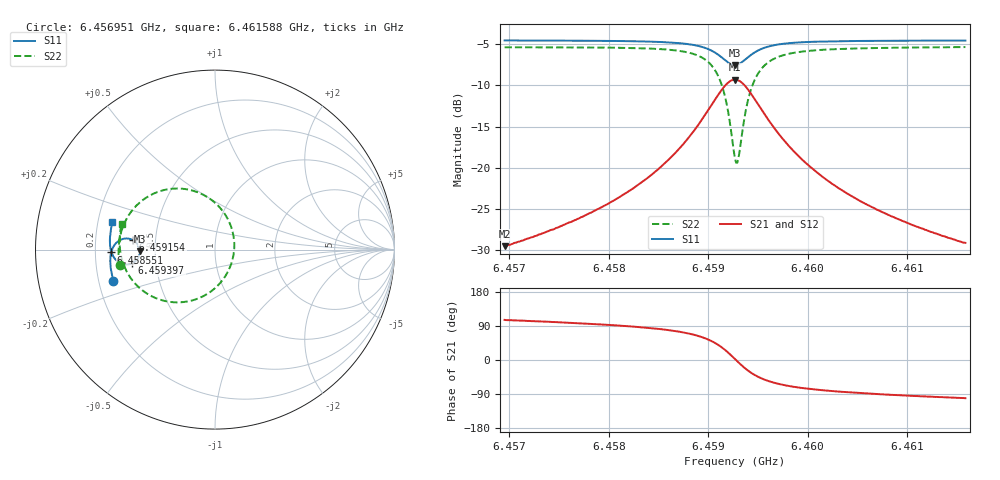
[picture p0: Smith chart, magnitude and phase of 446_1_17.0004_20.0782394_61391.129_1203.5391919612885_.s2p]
#  HZ  S  RI  R  50.00
! Rohde & Schwarz Vector Network Analyzer
! Rohde-Schwarz,ZNB20-2Port,1311601062101988,3.16
! Created: UTC 3/20/2024, 11:12:03 PM
! freq[Hz]  re:S11  im:S11  re:S21  im:S21  re:S12  im:S12  re:S22  im:S22
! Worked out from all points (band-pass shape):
!   401 points, 6.456951 GHz to 6.461588 GHz, reference 50 ohm
!   highest |S21| = -9.30 dB at 6.45927 GHz (marker M1); lowest = -29.5 dB at 6.456951 GHz (marker M2)
!   |S21| within 3 dB of the highest: 6.459038 GHz to 6.459502 GHz (464 kHz wide, 0.00718 % of centre)
!   lowest |S11| = -7.5 dB at 6.45927 GHz (marker M3), VSWR 2.45, Z = 20.4 - j0.524 ohm
!   |S11| at or under -10 dB: nowhere
!   |S22| runs from -19.4 to -5.4 dB; largest |S21 - S12| = 0.013
!   S11 on the Smith chart (normalised r, x): 6.456951 GHz: 0.26, -0.14; 6.458551 GHz: 0.27, -0.01; 6.459154 GHz: 0.37, +0.05; 6.459397 GHz: 0.37, -0.07; 6.461588 GHz: 0.26, +0.12
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6.4569511e9  -0.5662 -0.1741  -0.00914 0.0321  -0.00718 0.0321  -0.5315 -0.087
6.4577279e9  -0.5805 -0.1064  -0.00578 0.0499  -0.00323 0.0494  -0.5372 0.00341
6.4581452e9  -0.5834 -0.0649  3.69e-05 0.0686  0.00304 0.0673  -0.5298 0.0684
6.4585046e9  -0.5798 -0.0223  0.0139 0.0978  0.0177 0.0951  -0.5045 0.1482
6.458551e9  -0.5785 -0.0159  0.0171 0.1034  0.0212 0.1003  -0.498 0.1615
6.4587597e9  -0.5663 0.0158  0.0431 0.1348  0.0473 0.13  -0.4495 0.2325
6.4589104e9  -0.5453 0.0419  0.0854 0.1648  0.0888 0.1584  -0.3715 0.2966
6.4590611e9  -0.4995 0.0617  0.1767 0.1838  0.1777 0.1765  -0.2048 0.3403
6.4591538e9  -0.4553 0.0517  0.2659 0.1531  0.2661 0.1471  -0.0395 0.2909
6.4592002e9  -0.4342 0.0331  0.3091 0.1106  0.3105 0.1053  0.0428 0.2153
6.4592698e9  -0.4195 -0.0106  0.3423 0.0146  0.3459 0.00757  0.1072 0.0371
6.4592814e9  -0.4199 -0.0186  0.3422 -0.00304  0.3459 -0.0107  0.1071 0.00369
6.4593045e9  -0.4234 -0.0339  0.3366 -0.0374  0.3403 -0.0466  0.0961 -0.0615
6.4593509e9  -0.4388 -0.0599  0.3084 -0.0969  0.3107 -0.1088  0.0391 -0.1737
6.4593973e9  -0.4607 -0.0759  0.2668 -0.1377  0.266 -0.1508  -0.045 -0.2481
6.45949e9  -0.5038 -0.0827  0.1826 -0.1687  0.1766 -0.1802  -0.2124 -0.294
6.4596408e9  -0.5471 -0.0621  0.0955 -0.1551  0.0872 -0.1614  -0.3786 -0.2453
6.4598031e9  -0.5684 -0.0345  0.0511 -0.1276  0.0435 -0.1303  -0.4584 -0.1737
6.4600465e9  -0.5811 0.00108  0.0221 -0.0964  0.0164 -0.0969  -0.5063 -0.0919
6.4603943e9  -0.5856 0.0422  0.00625 -0.0697  0.0022 -0.0692  -0.5275 -0.0129
6.4608233e9  -0.5836 0.0851  -0.00157 -0.0514  -0.0043 -0.0507  -0.5318 0.0553
6.4615884e9  -0.5712 0.1527  -0.00657 -0.0344  -0.00824 -0.0333  -0.5202 0.1449
